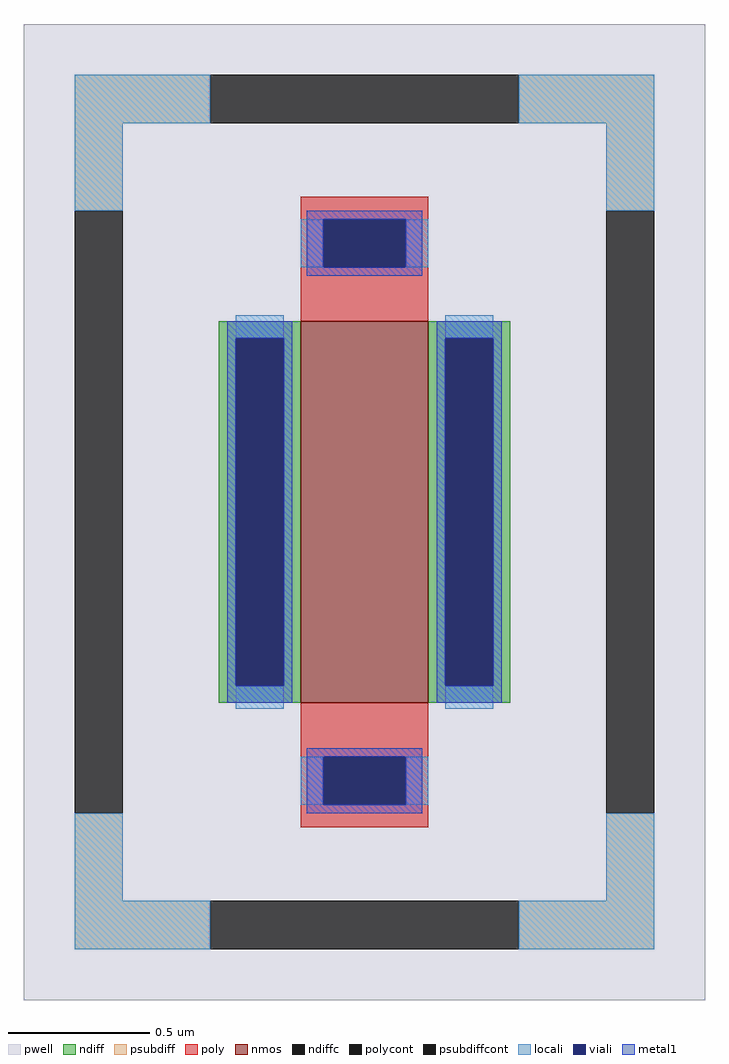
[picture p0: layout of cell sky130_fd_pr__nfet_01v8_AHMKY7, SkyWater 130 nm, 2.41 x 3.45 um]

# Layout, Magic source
magic
tech sky130A
magscale 1 2
<< pwell >>
rect -241 -345 241 345
<< nmos >>
rect -45 -135 45 135
<< ndiff >>
rect -103 123 -45 135
rect -103 -123 -91 123
rect -57 -123 -45 123
rect -103 -135 -45 -123
rect 45 123 103 135
rect 45 -123 57 123
rect 91 -123 103 123
rect 45 -135 103 -123
<< ndiffc >>
rect -91 -123 -57 123
rect 57 -123 91 123
<< psubdiff >>
rect -205 275 -109 309
rect 109 275 205 309
rect -205 213 -171 275
rect 171 213 205 275
rect -205 -275 -171 -213
rect 171 -275 205 -213
rect -205 -309 -109 -275
rect 109 -309 205 -275
<< psubdiffcont >>
rect -109 275 109 309
rect -205 -213 -171 213
rect 171 -213 205 213
rect -109 -309 109 -275
<< poly >>
rect -45 207 45 223
rect -45 173 -29 207
rect 29 173 45 207
rect -45 135 45 173
rect -45 -173 45 -135
rect -45 -207 -29 -173
rect 29 -207 45 -173
rect -45 -223 45 -207
<< polycont >>
rect -29 173 29 207
rect -29 -207 29 -173
<< locali >>
rect -205 275 -109 309
rect 109 275 205 309
rect -205 213 -171 275
rect 171 213 205 275
rect -45 173 -29 207
rect 29 173 45 207
rect -91 123 -57 139
rect -91 -139 -57 -123
rect 57 123 91 139
rect 57 -139 91 -123
rect -45 -207 -29 -173
rect 29 -207 45 -173
rect -205 -275 -171 -213
rect 171 -275 205 -213
rect -205 -309 -109 -275
rect 109 -309 205 -275
<< viali >>
rect -29 173 29 207
rect -91 -123 -57 123
rect 57 -123 91 123
rect -29 -207 29 -173
<< metal1 >>
rect -41 207 41 213
rect -41 173 -29 207
rect 29 173 41 207
rect -41 167 41 173
rect -97 123 -51 135
rect -97 -123 -91 123
rect -57 -123 -51 123
rect -97 -135 -51 -123
rect 51 123 97 135
rect 51 -123 57 123
rect 91 -123 97 123
rect 51 -135 97 -123
rect -41 -173 41 -167
rect -41 -207 -29 -173
rect 29 -207 41 -173
rect -41 -213 41 -207
<< properties >>
string FIXED_BBOX -188 -292 188 292
string gencell sky130_fd_pr__nfet_01v8
string library sky130
string parameters w 1.35 l 0.450 m 1 nf 1 diffcov 100 polycov 100 guard 1 glc 1 grc 1 gtc 1 gbc 1 tbcov 100 rlcov 100 topc 1 botc 1 poverlap 0 doverlap 1 lmin 0.15 wmin 0.42 compatible {sky130_fd_pr__nfet_01v8 sky130_fd_pr__nfet_01v8_lvt  sky130_fd_bs_flash__special_sonosfet_star  sky130_fd_pr__nfet_g5v0d10v5 sky130_fd_pr__nfet_05v0_nvt  sky130_fd_pr__nfet_03v3_nvt} full_metal 1 viasrc 100 viadrn 100 viagate 100 viagb 0 viagr 0 viagl 0 viagt 0
<< end >>
